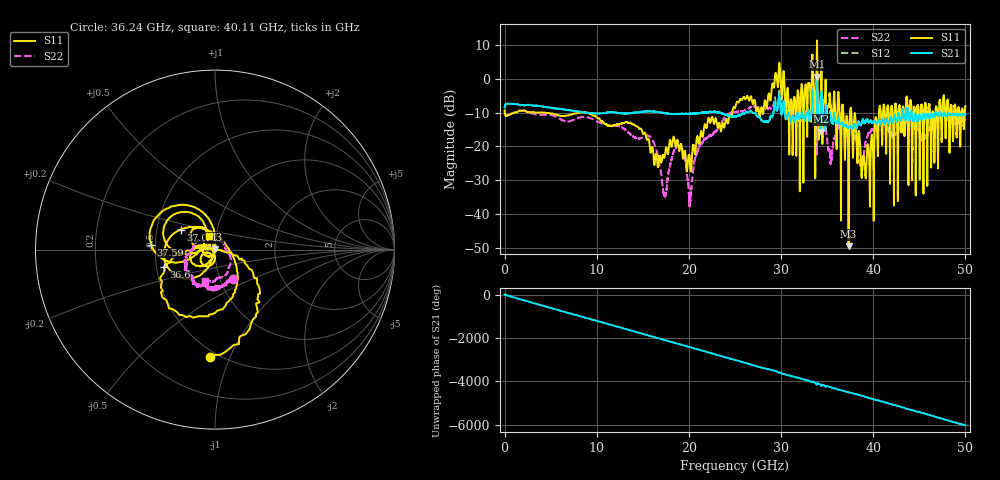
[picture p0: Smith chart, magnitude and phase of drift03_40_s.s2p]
!Created with skrf (http://scikit-rf.org).
# Hz S RI R 50.0
!freq ReS11 ImS11 ReS21 ImS21 ReS12 ImS12 ReS22 ImS22
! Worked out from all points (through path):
!   10001 points, 300 kHz to 50 GHz, reference 50 ohm
!   highest |S21| = 0.66 dB at 33.9 GHz (marker M1); lowest = -15.6 dB at 34.32 GHz (marker M2)
!   group delay of S21, straight-line fit = 335 ps
!   lowest |S11| = -49.5 dB at 37.33 GHz (marker M3), VSWR 1.01, Z = 49.8 + j0.239 ohm
!   |S11| at or under -10 dB: 4.471 GHz to 7.935 GHz (3.464 GHz wide, 55.8 % of centre); 9.016 GHz to 24.7 GHz (15.68 GHz wide, 93 % of centre); 37.62 GHz to 40.62 GHz (3.003 GHz wide, 7.68 % of centre) (the widest 3 of 60)
!   |S22| runs from -37.8 to -5.9 dB; largest |S21 - S12| = 0.11
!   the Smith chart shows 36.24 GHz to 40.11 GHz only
!   S11 on the Smith chart (normalised r, x): 36.24 GHz: 0.46, -0.85; 36.6 GHz: 0.55, -0.12; 37.04 GHz: 0.67, +0.16; 37.59 GHz: 0.47, +0.03; 40.11 GHz: 0.93, +0.14
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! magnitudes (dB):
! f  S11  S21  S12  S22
! 300 kHz  -9.3  -8.5  -8.4  -9.3
! 8.335 GHz  -9.9  -9.8  -9.8  -11.3
! 16.67 GHz  -25.5  -9.8  -9.8  -23.2
! 17.39 GHz  -22.7  -10.1  -10.1  -34.5
! 19.07 GHz  -19.9  -10.3  -10.3  -20.0
! 20.13 GHz  -24.5  -10.3  -10.3  -36.3
! 21.19 GHz  -17.9  -10.1  -10.1  -19.6
! 25 GHz  -8.6  -11.1  -11.1  -9.8
! 31.08 GHz  -6.2  -12.7  -12.7  -10.5
! 33.34 GHz  0.4  -7.6  -7.6  -9.5
! 33.9 GHz  11.4  0.7  0.3  -22.7
! 34.32 GHz  -2.9  -15.6  -14.9  -11.3
! 35.35 GHz  -6.8  -10.6  -10.0  -24.7
! 36.24 GHz  -4.5  -11.8  -11.7  -14.3
! 36.6 GHz  -10.4  -13.0  -13.0  -13.4
! 37.04 GHz  -13.2  -13.8  -14.1  -13.7
! 37.33 GHz  -49.5  -14.3  -14.5  -13.6
! 37.59 GHz  -8.9  -13.9  -13.9  -13.9
! 38.71 GHz  -27.0  -13.4  -13.3  -25.3
! 40.11 GHz  -21.6  -12.5  -12.6  -14.8
! 41.67 GHz  -9.5  -13.3  -13.2  -14.7
! 50 GHz  -8.0  -10.5  -10.6  -12.2
